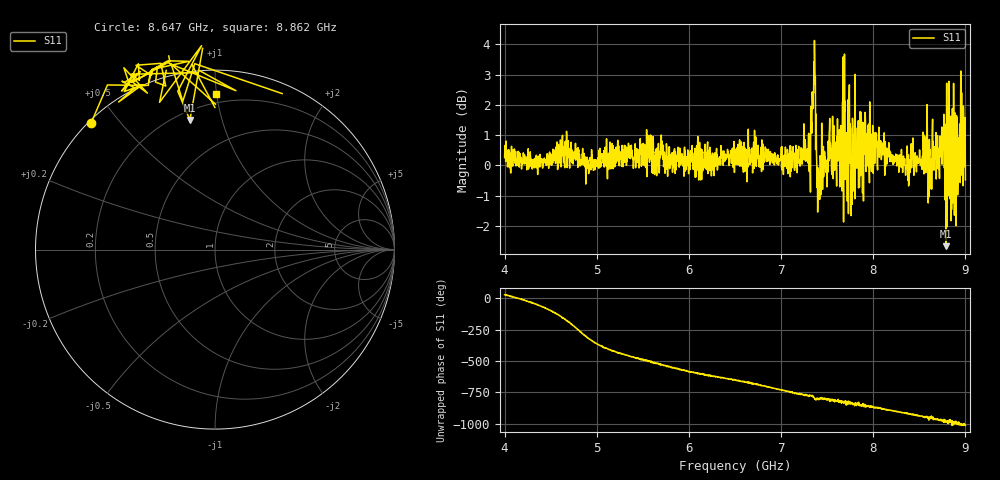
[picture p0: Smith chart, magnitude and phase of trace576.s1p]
! Created with skrf 1.8.0 (http://scikit-rf.org).
# Hz S RI R 50.0
!freq ReS11 ImS11
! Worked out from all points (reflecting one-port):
!   1601 points, 4 GHz to 9 GHz, reference 50 ohm
!   lowest |S11| = -2.7 dB at 8.791 GHz (marker M1), VSWR 6.57, Z = 12.6 + j39.7 ohm
!   phase of S11 starts at 28 deg and turns -1040 deg over the sweep
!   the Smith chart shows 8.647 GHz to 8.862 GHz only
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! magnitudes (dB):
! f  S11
! 4 GHz  0.3
! 4.625 GHz  0.9
! 4.906 GHz  0.2
! 5.25 GHz  0.4
! 5.875 GHz  0.2
! 6.5 GHz  0.5
! 7.125 GHz  0.5
! 7.294 GHz  0.1
! 7.328 GHz  1.1
! 7.347 GHz  2.2
! 7.362 GHz  4.1
! 7.397 GHz  -1.5
! 7.412 GHz  -0.5
! 7.538 GHz  0.6
! 7.638 GHz  -0.7
! 7.669 GHz  2.1
! 7.75 GHz  1.4
! 7.784 GHz  0.6
! 7.928 GHz  0.6
! 8.375 GHz  -0.1
! 8.566 GHz  -0.1
! 8.612 GHz  0.3
! 8.75 GHz  0.5
! 8.791 GHz  -2.7
! 8.819 GHz  0.0
! 8.906 GHz  0.4
! 8.972 GHz  0.1
! 9 GHz  -0.5
